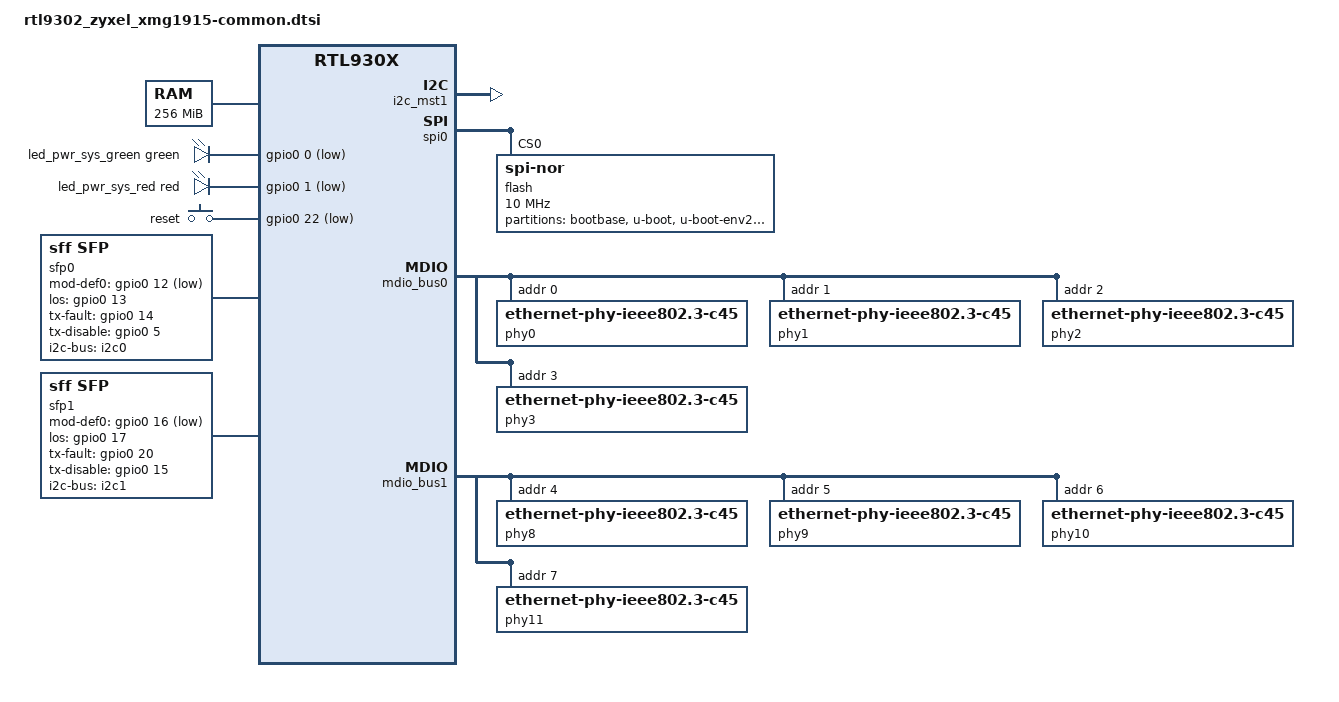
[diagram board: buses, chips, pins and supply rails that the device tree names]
// SPDX-License-Identifier: GPL-2.0-or-later
/dts-v1/;

/*
 * Chassis shared by the Zyxel XMG1915-10E, -10EP and -18EP: one flash
 * layout, one indicator and button set, and the same two SFP+ cages on the
 * same pins. The port map, LED sets and PoE differ and live with the board.
 */

#include "rtl930x.dtsi"

#include <dt-bindings/input/input.h>
#include <dt-bindings/gpio/gpio.h>
#include <dt-bindings/leds/common.h>

/ {
	aliases {
		label-mac-device = &ethernet0;
		led-boot = &led_pwr_sys_green;
		led-failsafe = &led_pwr_sys_red;
		led-running = &led_pwr_sys_green;
		led-upgrade = &led_pwr_sys_green;
	};

	memory@0 {
		device_type = "memory";
		reg = <0x00000000 0x10000000>;
	};

	leds {
		compatible = "gpio-leds";

		pinctrl-names = "default";
		pinctrl-0 = <&pinmux_disable_sys_led>;

		led_pwr_sys_green: led-0 {
			color = <LED_COLOR_ID_GREEN>;
			function = LED_FUNCTION_POWER;
			gpios = <&gpio0 0 GPIO_ACTIVE_LOW>;
			default-state = "on";
		};

		led_pwr_sys_red: led-1 {
			color = <LED_COLOR_ID_RED>;
			function = LED_FUNCTION_POWER;
			gpios = <&gpio0 1 GPIO_ACTIVE_LOW>;
			default-state = "off";
		};
	};

	keys {
		compatible = "gpio-keys";

		button-reset {
			label = "reset";
			gpios = <&gpio0 22 GPIO_ACTIVE_LOW>;
			linux,code = <KEY_RESTART>;
		};
	};

	sfp0: sfp-0 {
		compatible = "sff,sfp";
		i2c-bus = <&i2c0>;
		mod-def0-gpio = <&gpio0 12 GPIO_ACTIVE_LOW>;
		los-gpio = <&gpio0 13 GPIO_ACTIVE_HIGH>;
		tx-fault-gpio = <&gpio0 14 GPIO_ACTIVE_HIGH>;
		tx-disable-gpio = <&gpio0 5 GPIO_ACTIVE_HIGH>;
	};

	sfp1: sfp-1 {
		compatible = "sff,sfp";
		i2c-bus = <&i2c1>;
		mod-def0-gpio = <&gpio0 16 GPIO_ACTIVE_LOW>;
		los-gpio = <&gpio0 17 GPIO_ACTIVE_HIGH>;
		tx-fault-gpio = <&gpio0 20 GPIO_ACTIVE_HIGH>;
		tx-disable-gpio = <&gpio0 15 GPIO_ACTIVE_HIGH>;
	};
};

&i2c_mst1 {
	status = "okay";

	/* Left SFP+ cage seen from the front */
	i2c0: i2c@0 {
		reg = <0>;
	};

	/* Right SFP+ cage seen from the front */
	i2c1: i2c@1 {
		reg = <1>;
	};
};

&spi0 {
	status = "okay";

	flash@0 {
		compatible = "jedec,spi-nor";
		reg = <0>;
		spi-max-frequency = <10000000>;

		partitions {
			compatible = "fixed-partitions";
			#address-cells = <1>;
			#size-cells = <1>;

			partition@0 {
				label = "bootbase";
				reg = <0x0 0x80000>;
				read-only;

				compatible = "fixed-partitions";
				#address-cells = <1>;
				#size-cells = <1>;

				partition@0 {
					label = "u-boot";
					reg = <0x0 0x7e000>;
				};

				partition@7e000 {
					label = "u-boot-env2";
					reg = <0x7e000 0x1000>;
				};

				partition@7f000 {
					label = "mrd";
					reg = <0x7f000 0x1000>;

					nvmem-layout {
						compatible = "fixed-layout";
						#address-cells = <1>;
						#size-cells = <1>;

						/*
						 * Factory block, laid out by the
						 * stock firmware's own printer at
						 * 0x8023D484. Its MAC lands on the
						 * offset already known to work,
						 * which is what places the rest.
						 */
						serial_factory: serial@f52 {
							reg = <0xf52 0xf>;
						};

						hwver_factory: hwver@f62 {
							reg = <0xf62 0xf>;
						};

						model_factory: model@fb0 {
							reg = <0xfb0 0x1f>;
						};

						/* 12 addresses are available */
						macaddr_factory: macaddr@ff8 {
							compatible = "mac-base";
							reg = <0xff8 0x6>;
							#nvmem-cell-cells = <1>;
						};
					};
				};
			};

			partition@80000 {
				label = "reserved";
				reg = <0x80000 0x1e0000>;
				read-only;
			};

			partition@260000 {
				label = "factory";
				reg = <0x260000 0x1da0000>;

				compatible = "fixed-partitions";
				#address-cells = <1>;
				#size-cells = <1>;

				partition@0 {
					label = "loader";
					reg = <0x0 0x10000>;
				};
				partition@10000 {
					label = "firmware";
					reg = <0x10000 0x1d90000>;
					compatible = "openwrt,uimage", "denx,uimage";
				};
			};
		};
	};
};

/*
 * GPIO 2 is the global reset shared by all PHYs across all MDIO busses.
 * It is intentionally not declared as reset-gpios on any bus: the MDIO
 * driver / phylink only support a reset GPIO per bus, not on the parent
 * controller. Attaching it to a single bus would still reset the PHYs
 * on the other busses as a side effect, leaving their software state
 * out of sync with the hardware and likely breaking them.
 */

&mdio_bus0 {
	/* External RTL8224 PHY */
	phy0: ethernet-phy@0 {
		reg = <0>;
		compatible = "ethernet-phy-ieee802.3-c45";
		enet-phy-pair-order = <0>;
		enet-phy-pair-polarity = <0>;
	};
	phy1: ethernet-phy@1 {
		reg = <1>;
		compatible = "ethernet-phy-ieee802.3-c45";
		enet-phy-pair-order = <0>;
		enet-phy-pair-polarity = <0>;
	};
	phy2: ethernet-phy@2 {
		reg = <2>;
		compatible = "ethernet-phy-ieee802.3-c45";
		enet-phy-pair-order = <1>;
		enet-phy-pair-polarity = <0>;
	};
	phy3: ethernet-phy@3 {
		reg = <3>;
		compatible = "ethernet-phy-ieee802.3-c45";
		enet-phy-pair-order = <1>;
		enet-phy-pair-polarity = <0>;
	};
};

&mdio_bus1 {
	/* External RTL8224 PHY */
	phy8: ethernet-phy@4 {
		reg = <4>;
		compatible = "ethernet-phy-ieee802.3-c45";
		enet-phy-pair-order = <0>;
		enet-phy-pair-polarity = <0>;
	};
	phy9: ethernet-phy@5 {
		reg = <5>;
		compatible = "ethernet-phy-ieee802.3-c45";
		enet-phy-pair-order = <0>;
		enet-phy-pair-polarity = <0>;
	};
	phy10: ethernet-phy@6 {
		reg = <6>;
		compatible = "ethernet-phy-ieee802.3-c45";
		enet-phy-pair-order = <1>;
		enet-phy-pair-polarity = <0>;
	};
	phy11: ethernet-phy@7 {
		reg = <7>;
		compatible = "ethernet-phy-ieee802.3-c45";
		enet-phy-pair-order = <1>;
		enet-phy-pair-polarity = <0>;
	};
};

&ethernet0 {
	nvmem-cells = <&macaddr_factory 0>;
	nvmem-cell-names = "mac-address";
};
